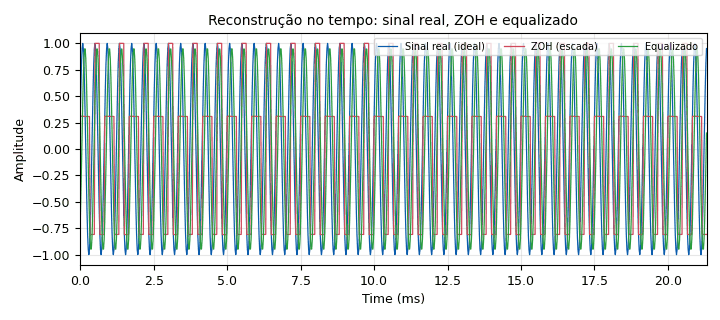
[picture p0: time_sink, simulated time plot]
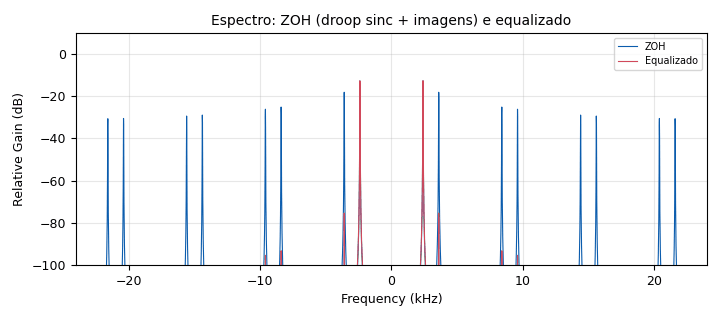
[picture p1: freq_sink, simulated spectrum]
options:
  parameters:
    author: Prof. Daniel Costa Araújo
    description: Prática 08 - Reconstrução ZOH e equalização
    generate_options: qt_gui
    id: pratica_08_reconstrucao_zoh
    output_language: python
    title: Prática 08 - Reconstrução ZOH e Equalização
  states: {}

blocks:
- name: samp_rate
  id: variable
  parameters:
    comment: Taxa apos o ZOH (fs_high)
    value: '48000'
  states: {}
- name: N_zoh
  id: variable
  parameters:
    comment: Fator de upsampling do ZOH
    value: '8'
  states: {}
- name: fs_low
  id: variable
  parameters:
    comment: Taxa antes do ZOH
    value: samp_rate//N_zoh
  states: {}
- name: eq_ntaps
  id: variable
  parameters:
    comment: Coeficientes do FIR equalizador
    value: '201'
  states: {}
- name: f0
  id: variable_qtgui_range
  parameters:
    comment: Frequência do tom de teste
    gui_hint: 0,0,1,2
    label: Frequência do tom (Hz)
    start: '200'
    step: '100'
    stop: '2800'
    value: '2400'
  states: {}
- name: src
  id: analog_sig_source_x
  parameters:
    amp: '1.0'
    comment: Tom amostrado a fs_low
    freq: f0
    offset: '0'
    phase: '0'
    samp_rate: fs_low
    type: float
    waveform: analog.GR_COS_WAVE
  states: {}
- name: zoh
  id: blocks_repeat
  parameters:
    comment: 'Zero-order hold: segura cada amostra N vezes'
    interp: N_zoh
    type: float
  states: {}
- name: throttle
  id: blocks_throttle2
  parameters:
    samples_per_second: samp_rate
    type: float
  states: {}
- name: equalizador
  id: epy_block
  parameters:
    _source_code: |
      """
      Equalizador de reconstrucao ZOH (inverse-sinc).

      O segurador de ordem zero multiplica o espectro por |sinc(f/fs_low)|, atenuando
      as altas frequencias. Este bloco aplica um FIR de resposta proporcional a
      1/sinc(f/fs_low) na banda de passagem, achatando o droop, e com rolloff acima
      de fs_low/2 para suprimir as imagens espectrais.

      Parametros: fs_low (taxa antes do ZOH), fs_high (taxa apos o ZOH), ntaps
      (numero de coeficientes do FIR) e ngrid (pontos da grade de frequencia usada no
      projeto do filtro).
      """

      import numpy as np
      from gnuradio import gr
      from scipy.signal import firwin2


      def design_eq(fs_low, fs_high, ntaps=201, pb_frac=0.45, ngrid=512):
          f = np.linspace(0.0, 1.0, ngrid)          # normalizado a fs_high/2
          fc = (pb_frac * fs_low) / (fs_high / 2.0)
          g = np.zeros_like(f)
          pb = f <= fc
          g[pb] = 1.0 / np.sinc(f[pb] * (fs_high / 2.0) / fs_low)
          return np.asarray(firwin2(ntaps, f, g), dtype=np.float32)


      class blk(gr.sync_block):
          def __init__(self, fs_low=6000, fs_high=48000, ntaps=201, ngrid=512):
              gr.sync_block.__init__(self, name="Equalizador ZOH (inverse-sinc)",
                                     in_sig=[np.float32], out_sig=[np.float32])
              self.taps = design_eq(fs_low, fs_high, ntaps, ngrid=ngrid)
              self.set_history(len(self.taps))

          def work(self, input_items, output_items):
              y = np.convolve(input_items[0], self.taps, 'valid')
              output_items[0][:] = y
              return len(output_items[0])
    comment: Equalizador inverse-sinc
    fs_high: samp_rate
    fs_low: fs_low
    ntaps: eq_ntaps
    ngrid: '512'
  states: {}
- name: time_sink
  id: qtgui_time_sink_x
  parameters:
    autoscale: 'True'
    grid: 'True'
    gui_hint: 1,0,1,2
    label1: Sinal real (ideal)
    label2: ZOH (escada)
    label3: Equalizado
    name: '"Reconstrução no tempo: sinal real, ZOH e equalizado"'
    nconnections: '3'
    size: '1024'
    srate: samp_rate
    type: float
    ymax: '1.5'
    ymin: '-1.5'
  states: {}
- name: freq_sink
  id: qtgui_freq_sink_x
  parameters:
    bw: samp_rate
    fc: '0'
    fftsize: '4096'
    grid: 'True'
    gui_hint: 2,0,1,2
    label1: ZOH
    label2: Equalizado
    name: '"Espectro: ZOH (droop sinc + imagens) e equalizado"'
    nconnections: '2'
    type: float
    wintype: window.WIN_HANN
    ymin: '-100'
  states: {}
- name: src_real
  id: analog_sig_source_x
  parameters:
    amp: '1.0'
    comment: Sinal real ideal a fs_high
    freq: f0
    offset: '0'
    phase: '0'
    samp_rate: samp_rate
    type: float
    waveform: analog.GR_COS_WAVE
  states: {}

connections:
- [src, '0', zoh, '0']
- [zoh, '0', throttle, '0']
- [throttle, '0', freq_sink, '0']
- [throttle, '0', equalizador, '0']
- [equalizador, '0', freq_sink, '1']
- [src_real, '0', time_sink, '0']
- [throttle, '0', time_sink, '1']
- [equalizador, '0', time_sink, '2']

metadata:
  file_format: 1
  grc_version: 3.10.12.0
